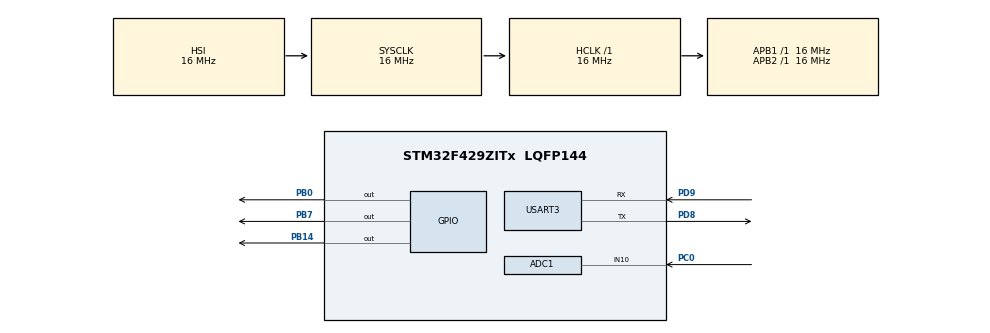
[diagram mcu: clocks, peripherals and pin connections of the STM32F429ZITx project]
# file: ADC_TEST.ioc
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ADC1.Channel-1\#ChannelRegularConversion=ADC_CHANNEL_10
ADC1.NbrOfConversionFlag=1
ADC1.Rank-1\#ChannelRegularConversion=1
ADC1.Resolution=ADC_RESOLUTION_8B
ADC1.SamplingTime-1\#ChannelRegularConversion=ADC_SAMPLETIME_3CYCLES
ADC1.master=1
Mcu.Family=STM32F4
Mcu.Name=STM32F429ZITx
Mcu.Package=LQFP144
NVIC.ADC_IRQn=true\:0\:0\:false\:false\:true\:true\:true\:true
NVIC.PriorityGroup=NVIC_PRIORITYGROUP_4
NVIC.USART3_IRQn=true\:0\:0\:false\:true\:true\:1\:true\:true\:true
PA3.Signal=ADCx_IN3
PB0.GPIO_PuPd=GPIO_PULLDOWN
PB0.Signal=GPIO_Output
PB14.GPIO_PuPd=GPIO_PULLDOWN
PB14.Signal=GPIO_Output
PB7.GPIO_PuPd=GPIO_PULLDOWN
PB7.Signal=GPIO_Output
PC0.Signal=ADCx_IN10
PD8.Mode=Asynchronous
PD8.Signal=USART3_TX
PD9.Mode=Asynchronous
PD9.Signal=USART3_RX
ProjectManager.HeapSize=0x200
ProjectManager.StackSize=0x400
ProjectManager.TargetToolchain=STM32CubeIDE
RCC.AHBFreq_Value=16000000
RCC.APB1Freq_Value=16000000
RCC.APB2Freq_Value=16000000
RCC.CortexFreq_Value=16000000
RCC.HSE_VALUE=25000000
RCC.HSI_VALUE=16000000
RCC.LSE_VALUE=32768
RCC.SYSCLKFreq_VALUE=16000000
RCC.VCOOutputFreq_Value=192000000
SH.ADCx_IN10.0=ADC1_IN10,IN10
SH.ADCx_IN3.0=ADC1_IN3
USART3.VirtualMode=VM_ASYNC
board=custom

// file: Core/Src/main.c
/* USER CODE BEGIN Header */
/**
  ******************************************************************************
  * @file           : main.c
  * @brief          : Main program body
  ******************************************************************************
  * @attention
  *
  * Copyright (c) 2023 STMicroelectronics.
  * All rights reserved.
  *
  * This software is licensed under terms that can be found in the LICENSE file
  * in the root directory of this software component.
  * If no LICENSE file comes with this software, it is provided AS-IS.
  *
  ******************************************************************************
  */
/* USER CODE END Header */
#include "main.h"

/* USER CODE BEGIN Includes */
#include "string.h"
#include "stdio.h"
/* USER CODE END Includes */

/* USER CODE BEGIN PD */
  int adc_value = 0;
  char uart_buf[30];
/* USER CODE END PD */

ADC_HandleTypeDef hadc1;

UART_HandleTypeDef huart3;

/* USER CODE BEGIN PV */
//printf를 사용하기 위해 _write() 함수를 재정의함.
int _write(int file, char *ptr, int len)
{
	HAL_UART_Transmit(&huart3, (uint8_t *)ptr, len, 500); //문자열을 보내는 것. 문자열의 주소를 받아서 문자열의 길이까지 같이 들어옴.

	return len;
}
int __io_putchar(int ch)
{
	HAL_UART_Transmit(&huart3, (uint8_t *)&ch, 1, 1000); //문자 하나를 보내는 것.
	return ch;
}
//scanf를 사용하기 위해 _read재정의
//int _read(int file, char *ptr, int len)
//{
//	HAL_UART_Receive(&huart3, (unsigned char*)ptr, len, HAL_MAX_DELAY);
//	return len;
//}
//int __io_getchar(void)
//{
//	uint8_t ch = 0;
//	HAL_UART_Receive(&huart3, (uint8_t *)&ch, 1, HAL_MAX_DELAY);
//	return ch;
//}

/* USER CODE END PV */

void SystemClock_Config(void);
static void MX_GPIO_Init(void);
static void MX_ADC1_Init(void);
static void MX_USART3_UART_Init(void);
static void MX_NVIC_Init(void);

/* USER CODE BEGIN 0 */
void HAL_ADC_ConvCpltCallback(ADC_HandleTypeDef* hadc)
{
	if(hadc -> Instance == ADC1)
	{
		adc_value = HAL_ADC_GetValue(&hadc1);
	}
}
/* USER CODE END 0 */

int main(void)
{

  /* MCU Configuration--------------------------------------------------------*/

  /* Reset of all peripherals, Initializes the Flash interface and the Systick. */
  HAL_Init();

  /* Configure the system clock */
  SystemClock_Config();

  /* Initialize all configured peripherals */
  MX_GPIO_Init();
  MX_ADC1_Init();
  MX_USART3_UART_Init();

  /* Initialize interrupts */
  MX_NVIC_Init();
  /* USER CODE BEGIN 2 */
  //interrupt를 사용하기 위해 추가해야 함.
//  HAL_ADC_Start_IT(&hadc1);

  int currLevel = 0;
  /* USER CODE END 2 */

  /* Infinite loop */
  /* USER CODE BEGIN WHILE */
  while (1)
  {
	  //시작하여 아날로그 신호를 받기위해 Analog to Digital Convertor를 시작하고,
	  //그 초기값을 설정해준 구조체를 넘겨준다.
//	  HAL_ADC_Start(&hadc1);
//	  if(HAL_ADC_PollForConversion(&hadc1, 10) == HAL_OK) //값이 들어오면 리턴값을 반환함.
//	  {
//		  adc_value = HAL_ADC_GetValue(&hadc1);	//가변저항의 값을 저장함. getValue를 통해 ADC regular data register의 값을 가져온다.
//	  }
//	  HAL_ADC_Stop(&hadc1);

//	  if(adc_value > 0 && adc_value <= 86)	//레벨1
//	  {
//		  currLevel = 1;
//		  HAL_GPIO_WritePin(GPIOB, GPIO_PIN_0, 1);
//		  HAL_GPIO_WritePin(GPIOB, GPIO_PIN_7, 0);
//		  HAL_GPIO_WritePin(GPIOB, GPIO_PIN_14, 0);
//	  }
//	  else if(adc_value > 86 && adc_value <=172) //레벨2
//	  {
//		  currLevel = 2;
//		  HAL_GPIO_WritePin(GPIOB, GPIO_PIN_0, 1);
//		  HAL_GPIO_WritePin(GPIOB, GPIO_PIN_7, 1);
//		  HAL_GPIO_WritePin(GPIOB, GPIO_PIN_14, 0);
//	  }
//	  else if(adc_value > 172) //레벨3
//	  {
//		  currLevel = 3;
//		  HAL_GPIO_WritePin(GPIOB, GPIO_PIN_0, 1);
//		  HAL_GPIO_WritePin(GPIOB, GPIO_PIN_7, 1);
//		  HAL_GPIO_WritePin(GPIOB, GPIO_PIN_14, 1);
//	  }

//	  memset(uart_buf, 0, sizeof(uart_buf));
//	  sprintf(uart_buf, "ADC Value : %d \r\n", adc_value);
//	  HAL_UART_Transmit(&huart3, (uint8_t *)uart_buf, sizeof(uart_buf), 100);
//	  printf("Current level: %d, VR value : %d\r\n", currLevel, adc_value); //시리얼에 출력하기.

	  HAL_ADC_Start_IT(&hadc1);
	  printf("ADC value: %d\r\n", adc_value);

	  HAL_Delay(250);
    /* USER CODE END WHILE */

  }
}

void SystemClock_Config(void)
{
  RCC_OscInitTypeDef RCC_OscInitStruct = {0};
  RCC_ClkInitTypeDef RCC_ClkInitStruct = {0};

  /** Configure the main internal regulator output voltage
  */
  __HAL_RCC_PWR_CLK_ENABLE();
  __HAL_PWR_VOLTAGESCALING_CONFIG(PWR_REGULATOR_VOLTAGE_SCALE3);

  /** Initializes the RCC Oscillators according to the specified parameters
  * in the RCC_OscInitTypeDef structure.
  */
  RCC_OscInitStruct.OscillatorType = RCC_OSCILLATORTYPE_HSI;
  RCC_OscInitStruct.HSIState = RCC_HSI_ON;
  RCC_OscInitStruct.HSICalibrationValue = RCC_HSICALIBRATION_DEFAULT;
  RCC_OscInitStruct.PLL.PLLState = RCC_PLL_NONE;
  if (HAL_RCC_OscConfig(&RCC_OscInitStruct) != HAL_OK)
  {
    Error_Handler();
  }

  /** Initializes the CPU, AHB and APB buses clocks
  */
  RCC_ClkInitStruct.ClockType = RCC_CLOCKTYPE_HCLK|RCC_CLOCKTYPE_SYSCLK
                              |RCC_CLOCKTYPE_PCLK1|RCC_CLOCKTYPE_PCLK2;
  RCC_ClkInitStruct.SYSCLKSource = RCC_SYSCLKSOURCE_HSI;
  RCC_ClkInitStruct.AHBCLKDivider = RCC_SYSCLK_DIV1;
  RCC_ClkInitStruct.APB1CLKDivider = RCC_HCLK_DIV1;
  RCC_ClkInitStruct.APB2CLKDivider = RCC_HCLK_DIV1;

  if (HAL_RCC_ClockConfig(&RCC_ClkInitStruct, FLASH_LATENCY_0) != HAL_OK)
  {
    Error_Handler();
  }
}

/**
  * @brief NVIC Configuration.
  * @retval None
  */
static void MX_NVIC_Init(void)
{
  /* USART3_IRQn interrupt configuration */
  HAL_NVIC_SetPriority(USART3_IRQn, 0, 0);
  HAL_NVIC_EnableIRQ(USART3_IRQn);
}

static void MX_ADC1_Init(void)
{

  ADC_ChannelConfTypeDef sConfig = {0};

  /** Configure the global features of the ADC (Clock, Resolution, Data Alignment and number of conversion)
  */
  hadc1.Instance = ADC1;
  hadc1.Init.ClockPrescaler = ADC_CLOCK_SYNC_PCLK_DIV2;
  hadc1.Init.Resolution = ADC_RESOLUTION_8B;
  hadc1.Init.ScanConvMode = DISABLE;
  hadc1.Init.ContinuousConvMode = DISABLE;
  hadc1.Init.DiscontinuousConvMode = DISABLE;
  hadc1.Init.ExternalTrigConvEdge = ADC_EXTERNALTRIGCONVEDGE_NONE;
  hadc1.Init.ExternalTrigConv = ADC_SOFTWARE_START;
  hadc1.Init.DataAlign = ADC_DATAALIGN_RIGHT;
  hadc1.Init.NbrOfConversion = 1;
  hadc1.Init.DMAContinuousRequests = DISABLE;
  hadc1.Init.EOCSelection = ADC_EOC_SINGLE_CONV;
  if (HAL_ADC_Init(&hadc1) != HAL_OK)
  {
    Error_Handler();
  }

  /** Configure for the selected ADC regular channel its corresponding rank in the sequencer and its sample time.
  */
  sConfig.Channel = ADC_CHANNEL_10;
  sConfig.Rank = 1;
  sConfig.SamplingTime = ADC_SAMPLETIME_3CYCLES;
  if (HAL_ADC_ConfigChannel(&hadc1, &sConfig) != HAL_OK)
  {
    Error_Handler();
  }

}

static void MX_USART3_UART_Init(void)
{

  huart3.Instance = USART3;
  huart3.Init.BaudRate = 115200;
  huart3.Init.WordLength = UART_WORDLENGTH_8B;
  huart3.Init.StopBits = UART_STOPBITS_1;
  huart3.Init.Parity = UART_PARITY_NONE;
  huart3.Init.Mode = UART_MODE_TX_RX;
  huart3.Init.HwFlowCtl = UART_HWCONTROL_NONE;
  huart3.Init.OverSampling = UART_OVERSAMPLING_16;
  if (HAL_UART_Init(&huart3) != HAL_OK)
  {
    Error_Handler();
  }

}

static void MX_GPIO_Init(void)
{
  GPIO_InitTypeDef GPIO_InitStruct = {0};

  /* GPIO Ports Clock Enable */
  __HAL_RCC_GPIOC_CLK_ENABLE();
  __HAL_RCC_GPIOA_CLK_ENABLE();
  __HAL_RCC_GPIOB_CLK_ENABLE();
  __HAL_RCC_GPIOD_CLK_ENABLE();

  /*Configure GPIO pin Output Level */
  HAL_GPIO_WritePin(GPIOB, GPIO_PIN_0|GPIO_PIN_14|GPIO_PIN_7, GPIO_PIN_RESET);

  /*Configure GPIO pins : PB0 PB14 PB7 */
  GPIO_InitStruct.Pin = GPIO_PIN_0|GPIO_PIN_14|GPIO_PIN_7;
  GPIO_InitStruct.Mode = GPIO_MODE_OUTPUT_PP;
  GPIO_InitStruct.Pull = GPIO_PULLDOWN;
  GPIO_InitStruct.Speed = GPIO_SPEED_FREQ_LOW;
  HAL_GPIO_Init(GPIOB, &GPIO_InitStruct);

}

void Error_Handler(void)
{
  __disable_irq();
  while (1)
  {
  }
}
